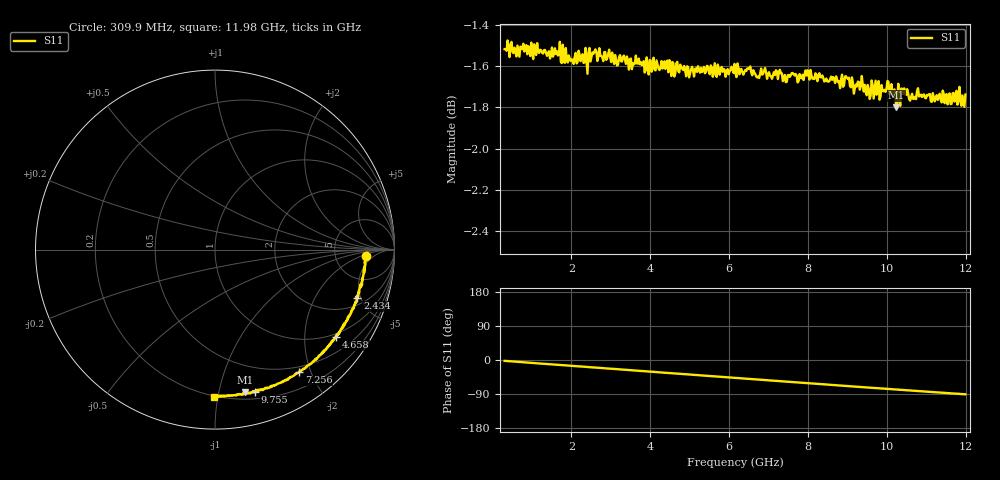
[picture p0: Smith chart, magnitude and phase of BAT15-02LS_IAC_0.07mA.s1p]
! Infineon Technologies  Discrete & RF Semiconductors
! BAT15-02ELS
! IAC = 0.07 mA
! One-Port S-Parameters
# Hz  S  MA  R  50
!f  S11
!Hz  Mag  Ang
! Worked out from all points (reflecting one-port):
!   468 points, 309.9 MHz to 11.98 GHz, reference 50 ohm
!   lowest |S11| = -1.8 dB at 10.23 GHz (marker M1), VSWR 9.69, Z = 12.8 - j60 ohm
!   phase of S11 starts at -2 deg and turns -88 deg over the sweep
!   S11 on the Smith chart (normalised r, x): 309.9 MHz: 11, -2; 2.434 GHz: 2.58, -4.68; 4.658 GHz: 0.89, -2.84; 7.256 GHz: 0.42, -1.83; 9.755 GHz: 0.26, -1.28; 11.98 GHz: 0.20, -0.97
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3.0985e8  0.8398 -2.3
4.347875e8  0.836 -3.2
1.184412e9  0.8379 -9.1
1.659175e9  0.8368 -12.8
1.784112e9  0.8418 -13.7
2.233888e9  0.8341 -17.1
2.433788e9  0.8381 -18.7
2.583712e9  0.8385 -19.9
3.233388e9  0.8369 -24.7
4.032988e9  0.8292 -31.0
4.457775e9  0.8289 -34.2
4.657675e9  0.833 -35.8
4.70765e9  0.8296 -36.2
5.482262e9  0.8293 -42.2
6.156925e9  0.8285 -47.2
7.256375e9  0.8291 -55.5
7.4063e9  0.8277 -56.8
7.6062e9  0.8286 -58.2
8.230888e9  0.8248 -63.1
9.080462e9  0.822 -69.4
9.755125e9  0.8226 -74.4
1.005498e10  0.8187 -76.6
1.022989e10  0.8128 -78.1
1.052974e10  0.8191 -80.1
1.145428e10  0.8147 -86.9
1.177911e10  0.8141 -89.3
1.190405e10  0.8183 -90.0
1.197901e10  0.8187 -90.5
